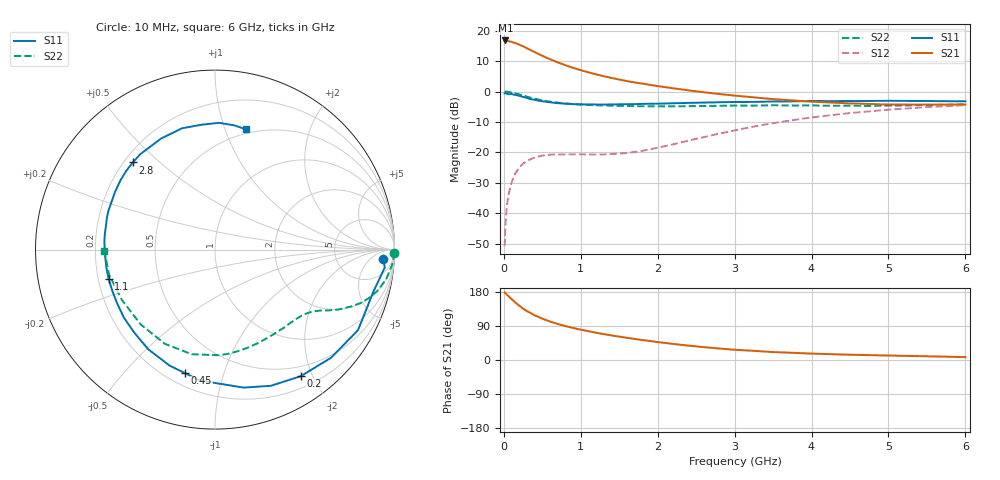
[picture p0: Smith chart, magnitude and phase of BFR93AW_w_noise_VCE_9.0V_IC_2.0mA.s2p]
! (c) 2017  Infineon Technologies AG, Munich
! Infineon Technologies  Discrete & RF Semiconductors
! BFR93AW
! VCE =  9.0 V,  IC =  2.0 mA
! Common Emitter S-Parameters:  Jan 2017
# GHz  S  MA  R  50
!  f  S11  S21  S12  S22
! GHz  MAG  ANG  MAG  ANG  MAG  ANG  MAG  ANG
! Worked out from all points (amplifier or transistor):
!   77 points, 10 MHz to 6 GHz, reference 50 ohm
!   highest |S21| = 16.8 dB at 20 MHz (marker M1)
!   |S21| within 3 dB of that: start of sweep to 334.7 MHz
!   unconditionally stable (mu >= 1): 1.289 GHz to 2.245 GHz
!   at 130 MHz: K = 0.10, MSG = 22.0 dB, |S12| = -27.9 dB
!   at 2.2 GHz: K = 1.02, MAG = 8.4 dB, |S12| = -17.3 dB
!   at 6 GHz: K = 0.95, MSG = 0.1 dB, |S12| = -4.5 dB
!   lowest NFmin = 1.49 dB at 450 MHz
!   S11 on the Smith chart (normalised r, x): 10 MHz: 18, -15; 200 MHz: 0.36, -1.83; 450 MHz: 0.27, -0.75; 1.1 GHz: 0.24, -0.13; 2.8 GHz: 0.23, +0.41; 6 GHz: 0.46, +1.18
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0.01  0.9381 -3.1  6.809 178.1  0.0029 91.9  1 -1.0
0.02  0.9511 -6.0  6.904 176.4  0.0061 88.8  0.9977 -2.2
0.05  0.9133 -14.8  6.771 170.4  0.0166 79.2  0.9901 -5.0
0.1  0.9145 -29.4  6.559 160.8  0.0319 74.9  0.9685 -9.6
0.15  0.8838 -43.0  6.261 151.6  0.0459 66.7  0.9375 -13.9
0.2  0.8519 -55.9  5.896 143.2  0.0562 61.3  0.9 -17.4
0.25  0.8202 -67.7  5.536 135.6  0.0657 55.2  0.8631 -20.2
0.3  0.7852 -78.3  5.143 129.0  0.0729 50.6  0.8255 -22.5
0.4  0.7345 -96.4  4.459 117.9  0.0828 43.2  0.7647 -25.9
0.45  0.7081 -103.7  4.15 113.8  0.0858 40.8  0.7408 -27.0
0.5  0.694 -111.4  3.866 109.1  0.089 38.5  0.7171 -28.2
0.6  0.6684 -123.8  3.4 101.6  0.092 36.0  0.6826 -29.8
0.7  0.6452 -134.2  3.013 95.2  0.0927 34.0  0.6578 -31.4
0.9  0.6221 -151.3  2.45 84.5  0.0935 33.3  0.6241 -34.6
1.1  0.615 -164.4  2.066 75.9  0.0929 35.9  0.6044 -38.0
1.6  0.6202 171.5  1.487 58.5  0.0981 50.0  0.5805 -48.7
2.1  0.6372 153.3  1.181 45.0  0.1277 64.4  0.572 -61.9
2.8  0.6676 133.3  0.913 30.3  0.2037 71.0  0.5849 -82.2
3.1  0.6753 125.6  0.836 25.9  0.2449 69.3  0.5876 -90.9
4.1  0.6989 103.4  0.674 16.3  0.3889 57.8  0.5891 -121.2
5.1  0.7046 86.7  0.612 11.4  0.5142 42.1  0.5898 -154.7
6  0.6918 75.5  0.611 7.6  0.5968 28.2  0.6162 -179.5
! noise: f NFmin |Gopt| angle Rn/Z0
0.45  1.49  0.44  71  0.2
0.9  1.76  0.41  128  0.21
1.9  3.23  0.56  -159  0.25
2.4  4.18  0.62  -139  0.45
